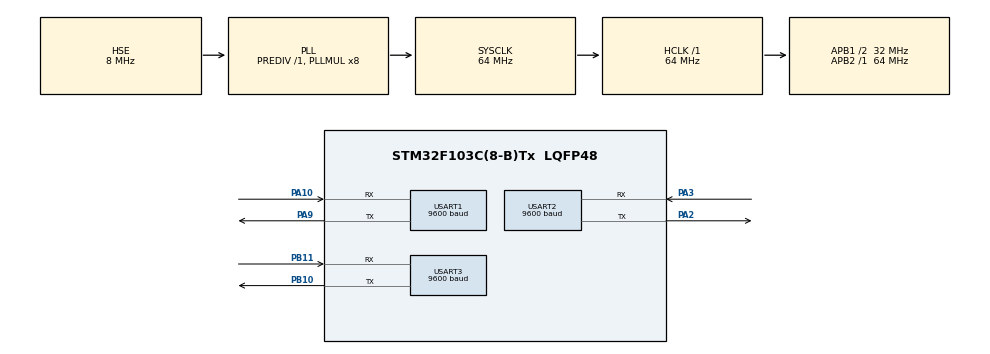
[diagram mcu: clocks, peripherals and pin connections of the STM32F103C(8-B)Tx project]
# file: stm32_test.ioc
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Mcu.Family=STM32F1
Mcu.Name=STM32F103C(8-B)Tx
Mcu.Package=LQFP48
NVIC.PriorityGroup=NVIC_PRIORITYGROUP_4
PA10.Mode=Asynchronous
PA10.Signal=USART1_RX
PA13.Mode=Serial_Wire
PA13.Signal=SYS_JTMS-SWDIO
PA14.Mode=Serial_Wire
PA14.Signal=SYS_JTCK-SWCLK
PA2.Mode=Asynchronous
PA2.Signal=USART2_TX
PA3.Mode=Asynchronous
PA3.Signal=USART2_RX
PA9.Mode=Asynchronous
PA9.Signal=USART1_TX
PB10.Mode=Asynchronous
PB10.Signal=USART3_TX
PB11.Mode=Asynchronous
PB11.Signal=USART3_RX
PD0-OSC_IN.Mode=HSE-External-Oscillator
PD0-OSC_IN.Signal=RCC_OSC_IN
PD1-OSC_OUT.Mode=HSE-External-Oscillator
PD1-OSC_OUT.Signal=RCC_OSC_OUT
ProjectManager.HeapSize=0x200
ProjectManager.StackSize=0x400
ProjectManager.TargetToolchain=STM32CubeIDE
RCC.AHBFreq_Value=64000000
RCC.APB1CLKDivider=RCC_HCLK_DIV2
RCC.APB1Freq_Value=32000000
RCC.APB1TimFreq_Value=64000000
RCC.APB2Freq_Value=64000000
RCC.APB2TimFreq_Value=64000000
RCC.HCLKFreq_Value=64000000
RCC.PLLMUL=RCC_PLL_MUL8
RCC.PLLSourceVirtual=RCC_PLLSOURCE_HSE
RCC.SYSCLKFreq_VALUE=64000000
RCC.SYSCLKSource=RCC_SYSCLKSOURCE_PLLCLK
RCC.USBFreq_Value=64000000
USART1.BaudRate=9600
USART1.VirtualMode=VM_ASYNC
USART2.BaudRate=9600
USART2.VirtualMode=VM_ASYNC
USART3.BaudRate=9600
USART3.VirtualMode=VM_ASYNC
board=custom

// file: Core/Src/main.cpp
/* USER CODE BEGIN Header */
/**
 ******************************************************************************
 * @file           : main.c
 * @brief          : Main program body
 ******************************************************************************
 * @attention
 *
 * <h2><center>&copy; Copyright (c) 2021 STMicroelectronics.
 * All rights reserved.</center></h2>
 *
 * This software component is licensed by ST under BSD 3-Clause license,
 * the "License"; You may not use this file except in compliance with the
 * License. You may obtain a copy of the License at:
 *                        opensource.org/licenses/BSD-3-Clause
 *
 ******************************************************************************
 */
/* USER CODE END Header */

#include "main.h"
#include "usart.h"
#include "gpio.h"

/* USER CODE BEGIN Includes */

#include <Incrementer.hpp>
#include <stdio.h>
/* USER CODE END Includes */

void SystemClock_Config(void);

/* USER CODE BEGIN 0 */

Incrementer inc;
char buf[10];
int i = 0;

void send_to_uart3(uint8_t data) {
	while (!(USART3->SR & USART_SR_TC)) {
	};
	USART3->DR = data;
}
void uart3ss(char *string) {
	unsigned char i = 0;
	while (string[i]) {
		send_to_uart3(string[i]);
		i++;
	}
	send_to_uart3('\r');
	//send_to_uart3('\n');
}
/* USER CODE END 0 */

int main(void) {

	/* MCU Configuration--------------------------------------------------------*/

	/* Reset of all peripherals, Initializes the Flash interface and the Systick. */
	HAL_Init();

	/* Configure the system clock */
	SystemClock_Config();

	/* Initialize all configured peripherals */
	MX_GPIO_Init();
	MX_USART1_UART_Init();
	MX_USART2_UART_Init();
	MX_USART3_UART_Init();

	/* Infinite loop */
	/* USER CODE BEGIN WHILE */

	while (1) {
		i++;

		if (i > 999999) {
			i = 0;

			inc.incrementCounter();

			if (inc.getCounter() > 20) {
				inc.resetCounter();
			}

			sprintf(buf, "%d", inc.getCounter());
			uart3ss(buf);

		}

		/* USER CODE END WHILE */

	}
}

void SystemClock_Config(void) {
	RCC_OscInitTypeDef RCC_OscInitStruct = { 0 };
	RCC_ClkInitTypeDef RCC_ClkInitStruct = { 0 };

	/** Initializes the RCC Oscillators according to the specified parameters
	 * in the RCC_OscInitTypeDef structure.
	 */
	RCC_OscInitStruct.OscillatorType = RCC_OSCILLATORTYPE_HSE;
	RCC_OscInitStruct.HSEState = RCC_HSE_ON;
	RCC_OscInitStruct.HSEPredivValue = RCC_HSE_PREDIV_DIV1;
	RCC_OscInitStruct.HSIState = RCC_HSI_ON;
	RCC_OscInitStruct.PLL.PLLState = RCC_PLL_ON;
	RCC_OscInitStruct.PLL.PLLSource = RCC_PLLSOURCE_HSE;
	RCC_OscInitStruct.PLL.PLLMUL = RCC_PLL_MUL8;
	if (HAL_RCC_OscConfig(&RCC_OscInitStruct) != HAL_OK) {
		Error_Handler();
	}
	/** Initializes the CPU, AHB and APB buses clocks
	 */
	RCC_ClkInitStruct.ClockType = RCC_CLOCKTYPE_HCLK | RCC_CLOCKTYPE_SYSCLK
			| RCC_CLOCKTYPE_PCLK1 | RCC_CLOCKTYPE_PCLK2;
	RCC_ClkInitStruct.SYSCLKSource = RCC_SYSCLKSOURCE_PLLCLK;
	RCC_ClkInitStruct.AHBCLKDivider = RCC_SYSCLK_DIV1;
	RCC_ClkInitStruct.APB1CLKDivider = RCC_HCLK_DIV2;
	RCC_ClkInitStruct.APB2CLKDivider = RCC_HCLK_DIV1;

	if (HAL_RCC_ClockConfig(&RCC_ClkInitStruct, FLASH_LATENCY_2) != HAL_OK) {
		Error_Handler();
	}
}

void Error_Handler(void) {
	__disable_irq();
	while (1) {
	}
}

/************************ (C) COPYRIGHT STMicroelectronics *****END OF FILE****/
